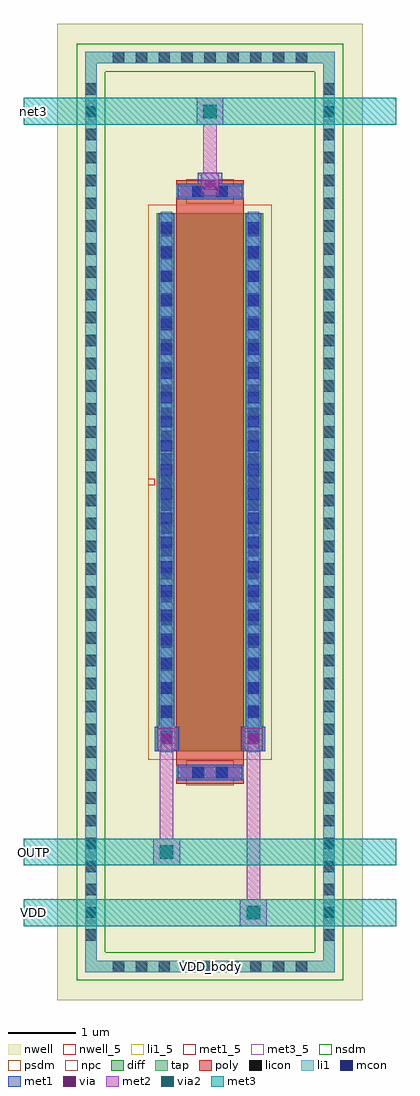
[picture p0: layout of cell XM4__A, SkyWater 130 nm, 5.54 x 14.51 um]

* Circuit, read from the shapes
.subckt XM4__A OUTP VDD VDD_body net3
XM1 VDD net3 OUTP VDD_body sky130_fd_pr__pfet_01v8 w=8 l=1
.ends

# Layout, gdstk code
import gdstk
lib = gdstk.Library(unit=1e-6, precision=1e-09)
def R(c, l, rs):  # rectangles x0, y0, x1, y1
    for r in rs: c.add(gdstk.rectangle(r[:2], r[2:], *l))
def A(c, l, x, y, w, h, nx, ny, dx, dy):  # array of equal rectangles
    R(c, l, [(x+i*dx, y+j*dy, x+i*dx+w, y+j*dy+h) for i in range(nx) for j in range(ny)])
nwell_5 = (64, 5)
nwell = (64, 20)
diff = (65, 20)
tap = (65, 44)
poly = (66, 20)
licon = (66, 44)
li1_5 = (67, 5)
li1 = (67, 20)
mcon = (67, 44)
met1_5 = (68, 5)
met1 = (68, 20)
via = (68, 44)
met2 = (69, 20)
via2 = (69, 44)
met3_5 = (70, 5)
met3 = (70, 20)
nsdm = (93, 44)
psdm = (94, 20)
npc = (95, 20)

sky130_fd_pr__pfet_01v8_ = lib.new_cell('sky130_fd_pr__pfet_01v8_8HDVAE')
R(sky130_fd_pr__pfet_01v8_, nwell, [(-0.97,-4.5,0.97,4.5)])
R(sky130_fd_pr__pfet_01v8_, diff, [(-0.79,-4,0.79,4)])
R(sky130_fd_pr__pfet_01v8_, poly, [(-0.5,-4.485,0.5,4.485)])
A(sky130_fd_pr__pfet_01v8_, licon, -0.73, -3.825, 0.17, 0.17, 1, 23, 0, 0.34)
A(sky130_fd_pr__pfet_01v8_, licon, 0.56, -3.825, 0.17, 0.17, 1, 23, 0, 0.34)
R(sky130_fd_pr__pfet_01v8_, licon, [(-0.255,-4.405,-0.085,-4.235), (0.085,-4.405,0.255,-4.235), (-0.255,4.235,-0.085,4.405), (0.085,4.235,0.255,4.405)])
R(sky130_fd_pr__pfet_01v8_, li1, [(-0.5,-4.405,0.5,-4.235), (-0.73,-4.02,-0.56,4.02), (0.56,-4.02,0.73,4.02), (-0.5,4.235,0.5,4.405)])
A(sky130_fd_pr__pfet_01v8_, mcon, -0.73, -3.865, 0.17, 0.17, 1, 22, 0, 0.36)
A(sky130_fd_pr__pfet_01v8_, mcon, 0.56, -3.865, 0.17, 0.17, 1, 22, 0, 0.36)
R(sky130_fd_pr__pfet_01v8_, mcon, [(-0.265,-4.405,-0.095,-4.235), (0.095,-4.405,0.265,-4.235), (-0.265,4.235,-0.095,4.405), (0.095,4.235,0.265,4.405)])
R(sky130_fd_pr__pfet_01v8_, met1, [(-0.48,-4.435,0.48,-4.205), (-0.76,-4,-0.53,4), (0.53,-4,0.76,4), (-0.48,4.205,0.48,4.435)])
R(sky130_fd_pr__pfet_01v8_, psdm, [(-0.915,-4.125,0.915,4.125)])
R(sky130_fd_pr__pfet_01v8_, npc, [(-0.355,-4.505,0.355,-4.135), (-0.355,4.135,0.355,4.505)])
sky130_fd_pr__pfet_01v8_.add(gdstk.Label('D', (-0.645,0), layer=67, texttype=5))
sky130_fd_pr__pfet_01v8_.add(gdstk.Label('S', (0.645,0), layer=67, texttype=5))
sky130_fd_pr__pfet_01v8_.add(gdstk.Label('G', (0,4.32), layer=67, texttype=5))

pfet_01v8_w8_l1_m1__nf1_ = lib.new_cell('pfet_01v8_W8_L1_m1__nf1_gboth_sdfull_ng')
R(pfet_01v8_w8_l1_m1__nf1_, nwell_5, [(0.05,4.45,0.15,4.55)])
R(pfet_01v8_w8_l1_m1__nf1_, nwell, [(0.05,4.45,0.15,4.55)])
R(pfet_01v8_w8_l1_m1__nf1_, met1_5, [(0.21,4.5,0.44,4.7), (1.5,4.5,1.73,4.7), (0.49,8.705,1.45,8.935)])
R(pfet_01v8_w8_l1_m1__nf1_, met1, [(0.21,4.5,0.44,4.7), (1.5,4.5,1.73,4.7), (0.49,8.705,1.45,8.935)])
pfet_01v8_w8_l1_m1__nf1_.add(gdstk.Reference(sky130_fd_pr__pfet_01v8_, (0.97,4.5)))
pfet_01v8_w8_l1_m1__nf1_.add(gdstk.Label('D', (0.325,4.6), layer=68, texttype=5))
pfet_01v8_w8_l1_m1__nf1_.add(gdstk.Label('S', (1.615,4.6), layer=68, texttype=5))
pfet_01v8_w8_l1_m1__nf1_.add(gdstk.Label('G', (0.97,8.82), layer=68, texttype=5))
pfet_01v8_w8_l1_m1__nf1_.add(gdstk.Label('B', (0.1,4.5), layer=64, texttype=5))

xm4__a = lib.new_cell('XM4__A')
R(xm4__a, nwell, [(-1.3,-3.2,3.24,11.31)])
R(xm4__a, tap, [(-0.885,-2.785,2.825,-2.615), (-0.885,-2.615,-0.715,10.725), (2.655,-2.615,2.825,10.725), (-0.885,10.725,2.825,10.895)])
A(xm4__a, licon, -0.475, -2.785, 0.17, 0.17, 9, 2, 0.34, 13.51)
A(xm4__a, licon, -0.885, -2.32, 0.17, 0.17, 1, 38, 0, 0.34)
A(xm4__a, licon, 2.655, -2.32, 0.17, 0.17, 1, 38, 0, 0.34)
R(xm4__a, li1_5, [(0.92,-2.75,1.02,-2.65)])
R(xm4__a, li1, [(-0.885,-2.785,2.825,-2.615), (-0.885,-2.615,-0.715,10.725), (2.655,-2.615,2.825,10.725), (-0.885,10.725,2.825,10.895)])
R(xm4__a, met1, [(0.145,0.5,0.505,0.86), (1.435,0.5,1.795,0.86), (0.79,8.735,1.15,9.095)])
R(xm4__a, via, [(0.25,0.605,0.4,0.755), (1.54,0.605,1.69,0.755), (0.895,8.84,1.045,8.99)])
R(xm4__a, met2, [(1.415,-2.1,1.815,-1.7), (1.515,-1.7,1.715,0.52), (0.125,-1.2,0.525,-0.8), (0.225,-0.8,0.425,0.52), (0.195,0.52,0.455,0.84), (1.485,0.52,1.745,0.84), (0.84,8.755,1.1,9.075), (0.87,9.075,1.07,9.81), (0.77,9.81,1.17,10.21)])
R(xm4__a, via2, [(1.515,-2,1.715,-1.8), (0.225,-1.1,0.425,-0.9), (0.87,9.91,1.07,10.11)])
R(xm4__a, met3_5, [(-1.7,-1.95,-1.6,-1.85), (-1.7,-1.05,-1.6,-0.95), (-1.7,9.96,-1.6,10.06)])
R(xm4__a, met3, [(-1.8,-2.1,3.74,-1.7), (-1.8,-1.2,3.74,-0.8), (-1.8,9.81,3.74,10.21)])
R(xm4__a, nsdm, [(-1.01,-2.91,2.95,-2.49), (-1.01,-2.49,-0.59,10.6), (2.53,-2.49,2.95,10.6), (-1.01,10.6,2.95,11.02)])
xm4__a.add(gdstk.Reference(pfet_01v8_w8_l1_m1__nf1_, (0,0)))
xm4__a.add(gdstk.Label('net3', (-1.65,10.01), layer=70, texttype=5))
xm4__a.add(gdstk.Label('OUTP', (-1.65,-1), layer=70, texttype=5))
xm4__a.add(gdstk.Label('VDD', (-1.65,-1.9), layer=70, texttype=5))
xm4__a.add(gdstk.Label('VDD_body', (0.97,-2.7), layer=67, texttype=5))

lib.write_gds('XM4__A.gds')
